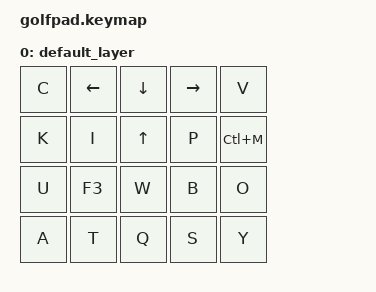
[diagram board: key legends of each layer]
#include <behaviors.dtsi>
#include <dt-bindings/zmk/keys.h>
#include <dt-bindings/zmk/bt.h>

/ {
    macros {
        clear_pairing: clear_pairing {
            compatible = "zmk,behavior-macro";
            #binding-cells = <0>;
            wait-ms = <0>;
            tap-ms = <0>;
            bindings = <&bt BT_CLR>;
        };
    };

    behaviors {
        pairing_hold: pairing_hold {
            compatible = "zmk,behavior-hold-tap";
            #binding-cells = <2>;
            flavor = "tap-preferred";
            tapping-term-ms = <5000>;
            bindings = <&clear_pairing>, <&none>;
        };
    };

    combos {
        compatible = "zmk,combos";

        combo_pairing_reset {
            // Tee Box Left + Tee Box Right.
            key-positions = <0 4>;
            timeout-ms = <100>;
            bindings = <&pairing_hold 0 0>;
        };
    };

    keymap {
        compatible = "zmk,keymap";

        default_layer {
            bindings = <
                &kp C  &kp LEFT  &kp DOWN  &kp RIGHT  &kp V
                &kp K  &kp I     &kp UP    &kp P      &kp LC(M)
                &kp U  &kp F3    &kp W     &kp B      &kp O
                &kp A  &kp T     &kp Q     &kp S      &kp Y
            >;
        };
    };
};
